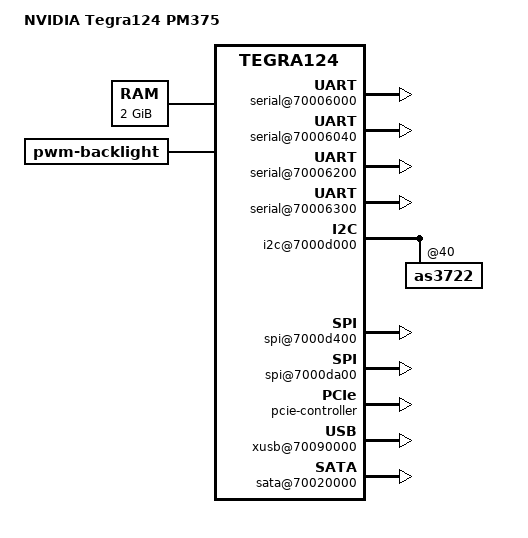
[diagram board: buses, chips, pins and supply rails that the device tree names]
/*
 * arch/arm/boot/dts/tegra124-jetson_tk1-pm375-000-c00-00.dts
 *
 * Copyright (c) 2014, NVIDIA CORPORATION.  All rights reserved.
 *
 * This program is free software; you can redistribute it and/or modify
 * it under the terms of the GNU General Public License as published by
 * the Free Software Foundation; either version 2 of the License, or
 * (at your option) any later version.
 *
 * This program is distributed in the hope that it will be useful, but WITHOUT
 * ANY WARRANTY; without even the implied warranty of MERCHANTABILITY or
 * FITNESS FOR A PARTICULAR PURPOSE.  See the GNU General Public License for
 * more details.
 *
 * You should have received a copy of the GNU General Public License along
 * with this program; if not, write to the Free Software Foundation, Inc.,
 * 51 Franklin Street, Fifth Floor, Boston, MA  02110-1301, USA.
 */

/dts-v1/;

#include "tegra124-soc-shield.dtsi"
#include "tegra124-platforms/tegra124-jetson_tk1-keys-pm375-0000-c00-00.dtsi"
#include "tegra124-platforms/tegra124-jetson_tk1-gpio-pm375-0000-c00-00.dtsi"
#include "tegra124-platforms/tegra124-jetson_tk1-pinmux-pm375-0000-c00-00.dtsi"
#include "tegra124-platforms/tegra124-jetson-power-tree-pm375-0000-c00.dtsi"
#include "tegra124-platforms/tegra124-laguna-hdmi-pm375-1000-a00.dtsi"
#include "tegra124-platforms/tegra124-jetson_tk1-io-common.dtsi"

/ {
	model = "NVIDIA Tegra124 PM375";
	compatible = "nvidia,jetson-tk1", "nvidia,tegra124";
	nvidia,dtsfilename = __FILE__;
	#address-cells = <2>;
	#size-cells = <2>;

	chosen {
		bootargs = "tegraid=40.0.0.00.00 vmalloc=256M video=tegrafb console=ttyS0,115200n8 earlyprintk";
	};

	firmware {
		android {
			compatible = "android,firmware";
			hardware = "jetson-tk1";
		};
	};

	host1x {
		/* tegradc.0 */
		dc@54200000 {
			status = "okay";
			nvidia,dc-flags = <TEGRA_DC_FLAG_ENABLED>;
			nvidia,emc-clk-rate = <300000000>;
			nvidia,cmu-enable = <1>;
			nvidia,low-v-win = <0x2>;
			nvidia,fb-bpp = <32>; /* bits per pixel */
			nvidia,fb-flags = <TEGRA_FB_FLIP_ON_PROBE>;
		};
	};

	pinmux@70000868 {
		pinctrl-names = "default", "drive", "unused", "suspend";
		pinctrl-3 = <&pinmux_suspend>;

		/* Change the pin dap_mclk1_req to required configurations */
		unused_lowpower {
			dap_mclk1_req_pee2 {
			nvidia,pins = "dap_mclk1_req_pee2";
			nvidia,function = "sata";
			nvidia,enable-input = <TEGRA_PIN_DISABLE>;
			nvidia,pull = <TEGRA_PIN_PULL_NONE>;
			nvidia,tristate = <TEGRA_PIN_DISABLE>;
			};
		};

		/* On suspend, make dap_mclk1_req to pull up */
		pinmux_suspend: pins_on_suspend {
		dap_mclk1_req_pee2 {
			nvidia,pins = "dap_mclk1_req_pee2";
			nvidia,pull = <TEGRA_PIN_PULL_UP>;
			};
		};
	};

        serial@70006000 {
                compatible = "nvidia,tegra114-hsuart";
                status = "okay";
        };

        serial@70006040 {
                compatible = "nvidia,tegra114-hsuart";
                status = "okay";
        };

        serial@70006200 {
                compatible = "nvidia,tegra114-hsuart";
		dma-names = "tx";
                status = "okay";
        };

	serial@70006300 {
		compatible = "nvidia,tegra20-uart", "nvidia,tegra114-hsuart";
		console-port;
		sqa-automation-port;
		status = "okay";
	};

	i2c@7000d000 {
		nvidia,bit-banging-xfer-after-shutdown;

		as3722@40 {
			adc_extcon {
				ams,extcon-name = "as3722-extcon";
			};
		};
	};

	bcmdhd_wlan {
		edp-consumer-name = "primary-wifi";
	};

	bcmdhd_wlan {
		fw_path = "/system/vendor/firmware/fw_bcmdhd.bin";
		nv_path = "/system/etc/nvram.txt";
		country_code_map {
			CC1 {
				iso_abbrev = "XR";
				custom_locale = "XR";
				custom_locale_rev = <122>;
			};
		};
	};

	memory@0x80000000 {
		device_type = "memory";
		reg = <0x0 0x80000000 0x0 0x80000000>;
	};

	spi@7000d400 {
		status = "okay";
		spi-max-frequency = <25000000>;
	};

	spi@7000da00 {
		status = "okay";
		spi-max-frequency = <25000000>;
	};

	pcie-controller {
		hvdd-pex-supply = <&reg_3v3_supply>;
		hvdd-pex-pll-e-supply = <&reg_3v3_supply>;
		dvddio-pex-supply = <&as3722_sd4>;
		avddio-pex-supply = <&as3722_sd4>;
		avdd-pex-pll-supply = <&as3722_sd4>;
		vddio-pex-ctl-supply = <&as3722_sd4>;
		nvidia,lane-map = <0x10>;
		status = "okay";
		pci@1,0 {
			nvidia,disable-clock-request;
			status = "okay";
		};

		pci@2,0 {
			nvidia,disable-clock-request;
			status = "okay";
		};
	};

	xusb@70090000 {
		/* nvidia,uses_external_pmic;
		nvidia,gpio_controls_muxed_ss_lanes; */
		nvidia,gpio_ss1_sata = <0>;
		nvidia,portmap = <0x701>; /* SSP0, USB2P0, USBP2 */
		nvidia,ss_portmap = <0x72>; /* SSP0 on USB2P2 */
		nvidia,lane_owner = <4>; /* USB3P0 USB3P1 */
		nvidia,ulpicap = <0>; /* No ulpi support. can we remove */
		status = "okay";
	};

        sata@70020000 {
                status = "okay";
                nvidia,enable-sata-port;
		vdd_sata-supply = <&as3722_sd4>;
		avdd_sata_pll-supply =<&as3722_sd4>;
		avdd_sata-supply = <&as3722_sd4>;
		hvdd_sata-supply = <&as3722_gpio2_supply>;
		vddio_pex_sata-supply = <&as3722_gpio2_supply>;
	};

	backlight {
		compatible = "pwm-backlight";
		status = "okay";
	};
};
